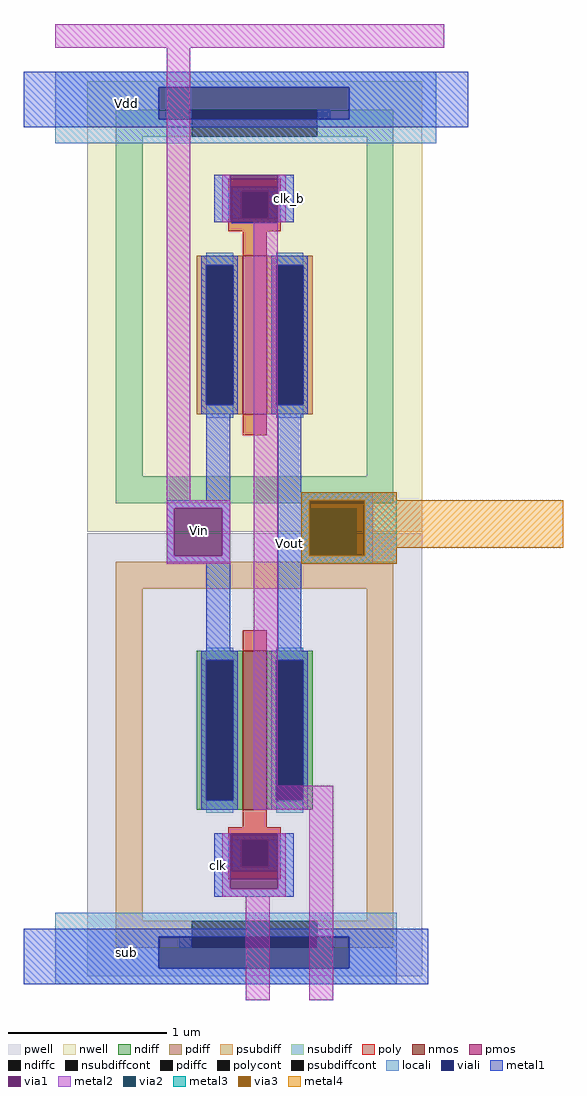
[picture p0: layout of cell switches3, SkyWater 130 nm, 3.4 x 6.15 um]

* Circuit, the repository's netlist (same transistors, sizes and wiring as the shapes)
* SPICE3 file created from switches3.ext - technology: sky130A

X0 Vout clk_b Vin Vdd sky130_fd_pr__pfet_01v8 ad=0.29 pd=2.58 as=0.29 ps=2.58 w=1 l=0.15
X1 Vout clk Vin sub sky130_fd_pr__nfet_01v8 ad=0.29 pd=2.58 as=0.29 ps=2.58 w=1 l=0.15

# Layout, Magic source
magic
tech sky130A
magscale 1 2
<< nwell >>
rect 910 0 1010 80
<< pwell >>
rect 910 -840 1010 -760
<< locali >>
rect 710 180 1190 200
rect 710 140 840 180
rect 1080 140 1190 180
rect 710 110 1190 140
rect 710 -890 1140 -860
rect 710 -930 840 -890
rect 1080 -930 1140 -890
rect 710 -950 1140 -930
<< viali >>
rect 840 140 1080 180
rect 840 -930 1080 -890
<< metal1 >>
rect 670 180 1230 200
rect 670 140 840 180
rect 1080 140 1230 180
rect 670 130 1230 140
rect 910 10 930 70
rect 990 10 1010 70
rect 900 -340 930 -220
rect 850 -350 930 -340
rect 850 -410 860 -350
rect 920 -410 930 -350
rect 850 -420 930 -410
rect 900 -540 930 -420
rect 990 -330 1020 -220
rect 990 -340 1110 -330
rect 990 -410 1030 -340
rect 1100 -410 1110 -340
rect 990 -420 1110 -410
rect 990 -540 1020 -420
rect 910 -830 930 -760
rect 990 -830 1010 -760
rect 910 -840 1010 -830
rect 670 -890 1180 -880
rect 670 -930 840 -890
rect 1080 -930 1180 -890
rect 670 -950 1180 -930
<< via1 >>
rect 930 10 990 70
rect 860 -410 920 -350
rect 1030 -410 1100 -340
rect 930 -830 990 -760
<< metal2 >>
rect 710 230 1200 260
rect 850 -340 880 230
rect 920 10 930 70
rect 990 10 1000 70
rect 850 -350 930 -340
rect 850 -410 860 -350
rect 920 -410 930 -350
rect 850 -420 930 -410
rect 960 -700 990 10
rect 1020 -340 1110 -330
rect 1020 -410 1030 -340
rect 1100 -410 1110 -340
rect 1020 -420 1110 -410
rect 960 -730 1060 -700
rect 920 -830 930 -760
rect 990 -830 1000 -760
rect 920 -840 1000 -830
rect 950 -970 980 -840
rect 1030 -970 1060 -730
<< via2 >>
rect 1030 -410 1090 -350
<< metal3 >>
rect 1020 -340 1140 -330
rect 1020 -410 1030 -340
rect 1100 -410 1140 -340
rect 1020 -420 1140 -410
<< via3 >>
rect 1030 -350 1100 -340
rect 1030 -410 1090 -350
rect 1090 -410 1100 -350
<< metal4 >>
rect 1020 -340 1140 -330
rect 1020 -410 1030 -340
rect 1100 -400 1350 -340
rect 1100 -410 1140 -400
rect 1020 -420 1140 -410
use sky130_fd_pr__pfet_01v8_NKK3FE  XM1 ~/final
transform 1 0 961 0 1 -96
box -211 -284 211 284
use sky130_fd_pr__nfet_01v8_5WP7M2  XM2 ~/final
transform 1 0 961 0 1 -661
box -211 -279 211 279
<< labels >>
flabel metal1 770 130 830 190 0 FreeSans 256 0 0 0 Vdd
port 3 nsew
flabel metal1 862 -408 922 -348 0 FreeSans 256 0 0 0 Vin
port 5 nsew
flabel metal1 770 -940 830 -880 0 FreeSans 256 0 0 0 sub
port 6 nsew
rlabel metal1 910 -840 920 -760 1 clk
port 7 n
rlabel metal1 1000 10 1010 70 1 clk_b
port 8 n
rlabel metal1 990 -410 1020 -380 1 Vout
port 9 n
<< end >>

# cell sky130_fd_pr__pfet_01v8_NKK3FE: kit device sky130_fd_pr__pfet_01v8, w 1.0 l 0.15 m 1 nf 1 diffcov 100 polycov 100 guard 1 glc 0 grc 0 gtc 1 gbc 0 tbcov 100 rlcov 100 topc 1 botc 0 poverlap 0 doverlap 1 lmin 0.15 wmin 0.42 compatible {sky130_fd_pr__pfet_01v8 sky130_fd_pr__pfet_01v8_lvt sky130_fd_pr__pfet_01v8_hvt sky130_fd_pr__pfet_g5v0d10v5} full_metal 0 viasrc 100 viadrn 100 viagate 100 viagb 0 viagr 0 viagl 0 viagt 0

# cell sky130_fd_pr__nfet_01v8_5WP7M2: kit device sky130_fd_pr__nfet_01v8, w 1.0 l 0.15 m 1 nf 1 diffcov 100 polycov 100 guard 1 glc 0 grc 0 gtc 0 gbc 1 tbcov 100 rlcov 100 topc 0 botc 1 poverlap 0 doverlap 1 lmin 0.15 wmin 0.42 compatible {sky130_fd_pr__nfet_01v8 sky130_fd_pr__nfet_01v8_lvt sky130_fd_bs_flash__special_sonosfet_star sky130_fd_pr__nfet_g5v0d10v5 sky130_fd_pr__nfet_05v0_nvt sky130_fd_pr__nfet_03v3_nvt} full_metal 0 viasrc 100 viadrn 100 viagate 100 viagb 0 viagr 0 viagl 0 viagt 0
